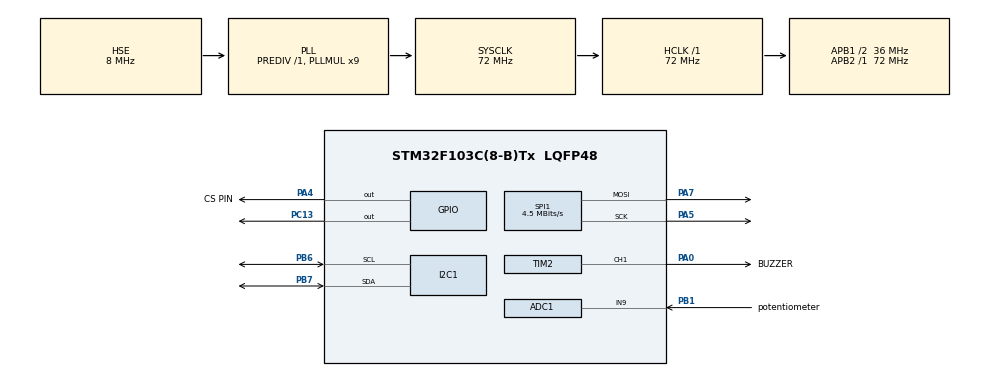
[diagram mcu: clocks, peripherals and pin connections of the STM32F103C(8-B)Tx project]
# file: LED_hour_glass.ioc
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ADC1.Channel-5\#ChannelRegularConversion=ADC_CHANNEL_9
ADC1.NbrOfConversion=1
ADC1.NbrOfConversionFlag=1
ADC1.Rank-5\#ChannelRegularConversion=1
ADC1.SamplingTime-5\#ChannelRegularConversion=ADC_SAMPLETIME_71CYCLES_5
ADC1.master=1
I2C1.DualAddressMode=I2C_DUALADDRESS_ENABLE
I2C1.GeneralCallMode=I2C_GENERALCALL_ENABLE
I2C1.OwnAddress=0x19
I2C1.OwnAddress2=0
Mcu.Family=STM32F1
Mcu.Name=STM32F103C(8-B)Tx
Mcu.Package=LQFP48
NVIC.I2C1_EV_IRQn=true\:0\:0\:false\:false\:true\:true\:true\:true
NVIC.PriorityGroup=NVIC_PRIORITYGROUP_4
PA0-WKUP.GPIO_Label=BUZZER
PA0-WKUP.Signal=S_TIM2_CH1_ETR
PA4.GPIO_Label=CS PIN
PA4.PinState=GPIO_PIN_SET
PA4.Signal=GPIO_Output
PA5.Mode=TX_Only_Simplex_Unidirect_Master
PA5.Signal=SPI1_SCK
PA7.Mode=TX_Only_Simplex_Unidirect_Master
PA7.Signal=SPI1_MOSI
PB1.GPIO_Label=potentiometer
PB1.Signal=ADCx_IN9
PB6.Mode=I2C
PB6.Signal=I2C1_SCL
PB7.Mode=I2C
PB7.Signal=I2C1_SDA
PC13-TAMPER-RTC.Signal=GPIO_Output
PD0-OSC_IN.Mode=HSE-External-Oscillator
PD0-OSC_IN.Signal=RCC_OSC_IN
PD1-OSC_OUT.Mode=HSE-External-Oscillator
PD1-OSC_OUT.Signal=RCC_OSC_OUT
ProjectManager.HeapSize=0x200
ProjectManager.StackSize=0x400
ProjectManager.TargetToolchain=STM32CubeIDE
RCC.ADCPresc=RCC_ADCPCLK2_DIV6
RCC.AHBFreq_Value=72000000
RCC.APB1CLKDivider=RCC_HCLK_DIV2
RCC.APB1Freq_Value=36000000
RCC.APB1TimFreq_Value=72000000
RCC.APB2Freq_Value=72000000
RCC.APB2TimFreq_Value=72000000
RCC.HCLKFreq_Value=72000000
RCC.PLLMUL=RCC_PLL_MUL9
RCC.PLLSourceVirtual=RCC_PLLSOURCE_HSE
RCC.SYSCLKFreq_VALUE=72000000
RCC.SYSCLKSource=RCC_SYSCLKSOURCE_PLLCLK
RCC.USBFreq_Value=72000000
SH.ADCx_IN9.0=ADC1_IN9,IN9
SH.S_TIM2_CH1_ETR.0=TIM2_CH1,PWM Generation1 CH1
SPI1.BaudRatePrescaler=SPI_BAUDRATEPRESCALER_16
SPI1.CalculateBaudRate=4.5 MBits/s
SPI1.Direction=SPI_DIRECTION_2LINES
SPI1.Mode=SPI_MODE_MASTER
SPI1.VirtualNSS=VM_NSSHARD
SPI1.VirtualType=VM_MASTER
TIM2.AutoReloadPreload=TIM_AUTORELOAD_PRELOAD_ENABLE
TIM2.Channel-PWM\ Generation1\ CH1=TIM_CHANNEL_1
TIM2.Prescaler=71
VP_SYS_VS_ND.Mode=No_Debug
VP_TIM2_VS_ClockSourceINT.Mode=Internal
board=custom

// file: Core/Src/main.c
/* USER CODE BEGIN Header */
/**
  ******************************************************************************
  * @file           : main.c
  * @brief          : LED Diamond Hourglass — STM32F103C8 Blue Pill
  *
  * Buzzer: TIM3 CH1 PWM on PA6. No interrupt needed — hardware PWM generates
  * the tone. Call buzzer_on(freq_hz) / buzzer_off() from anywhere.
  *
  * Setting display: both matrices show LED count.
  * Bottom matrix (0..63 pixels available, we use 0..59 for 60 steps).
  * Each minute = 1 LED. Pot maps 0..4095 → 1..60 min.
  *
  * Tick display: one LED extinguishes every 30 sec during normal run,
  * giving a live "time remaining" indicator across both matrices.
  ******************************************************************************
  */
/* USER CODE END Header */
#include "main.h"

ADC_HandleTypeDef hadc1;

I2C_HandleTypeDef hi2c1;

SPI_HandleTypeDef hspi1;

TIM_HandleTypeDef htim2;

/* USER CODE BEGIN PV */
Max7219_HandleTypeDef lc;
LIS3DH_HandleTypeDef  accel;
/* USER CODE END PV */

void SystemClock_Config(void);
static void MX_GPIO_Init(void);
static void MX_I2C1_Init(void);
static void MX_SPI1_Init(void);
static void MX_ADC1_Init(void);
static void MX_TIM2_Init(void);

/* USER CODE BEGIN 0 */

/* ── Buzzer (TIM3 CH1 PWM, PA6) ─────────────────────────────────── */
/*
 * Blue Pill: TIM3 CH1 is on PA6 (no remap needed).
 * Wire buzzer between PA6 and GND (passive buzzer or transistor).
 * Active buzzer: just toggle PA6 as GPIO instead — but PWM gives
 * proper frequency control for passive buzzers.
 */
static void buzzer_on(uint32_t freq_hz)
{
    if (freq_hz == 0) return;
    /* TIM3 clock = PCLK1 * 2 = 72 MHz (with APB1 /2 prescaler) */
    uint32_t timer_clk = 72000000UL;
    uint32_t arr = (timer_clk / (htim2.Init.Prescaler + 1)) / freq_hz - 1;
    __HAL_TIM_SET_AUTORELOAD(&htim2, arr);
    __HAL_TIM_SET_COMPARE(&htim2, TIM_CHANNEL_1, arr / 2); /* 50% duty */
    HAL_TIM_PWM_Start(&htim2, TIM_CHANNEL_1);
}

static void buzzer_off(void)
{
    HAL_TIM_PWM_Stop(&htim2, TIM_CHANNEL_1);
}

static void beep(uint32_t freq_hz, uint32_t ms)
{
    buzzer_on(freq_hz);
    HAL_Delay(ms);
    buzzer_off();
}

static void beep_confirm(void)
{
    beep(1000, 80); HAL_Delay(60);
    beep(1200, 80);
}

static void beep_alarm(void)  /* timer done */
{
    for (int i = 0; i < 5; i++) {
        beep(1500, 150); HAL_Delay(100);
        beep(900,  150); HAL_Delay(100);
    }
}

/* ── LED indicator helpers ───────────────────────────────────────── */
static void led_blink(uint32_t ms)
{
    HAL_GPIO_WritePin(LED_PORT, LED_PIN, GPIO_PIN_RESET);
    HAL_Delay(ms);
    HAL_GPIO_WritePin(LED_PORT, LED_PIN, GPIO_PIN_SET);
    HAL_Delay(ms);
}

/* ── ADC / pot ───────────────────────────────────────────────────── */
static uint8_t read_pot_minutes(void)
{
    static uint32_t filtered = 0;
    static uint8_t  inited   = 0;

    HAL_ADC_Start(&hadc1);
    HAL_ADC_PollForConversion(&hadc1, 10);
    uint32_t raw = HAL_ADC_GetValue(&hadc1);
    HAL_ADC_Stop(&hadc1);

    if (!inited) { filtered = raw; inited = 1; }
    else         { filtered = (filtered * 3 + raw) / 4; }

    return (uint8_t)((filtered * 59) / 4095) + 1;  /* 1..60 */
}

/* display_led_count defined in functions.c */

/* ── Pot setting mode ────────────────────────────────────────────── */
#define POT_SETTLE_MS  2000   /* ms stable before confirming */
#define POT_DEADBAND   1

static void pot_setting_mode(void)
{
    /* Only clear top matrix — bottom is untouched.
     * hourglass_reset() called after this will clear everything cleanly. */
    uint8_t top = hourglass_top_matrix();
    MAX7219_ClearDisplay(&lc, top);

    uint8_t  last     = read_pot_minutes();
    uint32_t stable_t = HAL_GetTick();

    display_led_count(last * 2);

    while (1) {
        HAL_Delay(30);
        uint8_t cur = read_pot_minutes();
        uint8_t diff = (cur > last) ? (cur - last) : (last - cur);

        if (diff > POT_DEADBAND) {
            MAX7219_ClearDisplay(&lc, top);
            last     = cur;
            stable_t = HAL_GetTick();
            display_led_count(cur * 2);
        } else if (HAL_GetTick() - stable_t >= POT_SETTLE_MS) {
            /* Stable for POT_SETTLE_MS — confirm */
            delayMinutes = last;
            delayHours   = 0;
            beep_confirm();
            return;
        }
    }
}

/* ── Tick display ────────────────────────────────────────────────── */
/*
 * Synced to grain drain:
 *   total_ms  = delayMinutes * 60000
 *   tick_leds = delayMinutes * 2  (2 LEDs per minute)
 *   tick_interval = total_ms / tick_leds = 30000ms  (always 30s per LED)
 *
 * BUT: drop_interval = total_ms / SAND_GRAINS
 *   SAND_GRAINS=60, tick_leds=delayMinutes*2
 *   For them to finish together: both use cumulative += timing, no drift.
 *
 * Both tick and drop now use start += interval so they stay locked.
 */
static uint8_t  tick_total      = 0;
static uint32_t tick_total_ms   = 0;
static uint32_t tick_start_ms   = 0;
static uint8_t  tick_active     = 0;

static void tick_display_start(void)
{
    tick_total_ms   = (uint32_t)delayMinutes * 60000UL;
    tick_total      = (uint8_t)(delayMinutes * 2);
    if (tick_total > 120) tick_total = 120;
    tick_start_ms   = HAL_GetTick();
    tick_active     = 1;
    /* Do NOT call display_led_count — matrices show sand */
}

static void tick_display_stop(void)
{
    tick_active = 0;
}

/* Purely a time tracker — no display writes.
 * Sand physics is the visual. Returns 1 at expiry. */
static uint8_t tick_display_update(void)
{
    if (!tick_active) return 0;
    if (HAL_GetTick() - tick_start_ms >= tick_total_ms) {
        tick_active = 0;
        return 1;
    }
    return 0;
}

/*
/* USER CODE END 0 */

int main(void)
{

  /* MCU Configuration--------------------------------------------------------*/

  /* Reset of all peripherals, Initializes the Flash interface and the Systick. */
  HAL_Init();

  /* Configure the system clock */
  SystemClock_Config();

  /* Initialize all configured peripherals */
  MX_GPIO_Init();
  MX_I2C1_Init();
  MX_SPI1_Init();
  MX_ADC1_Init();
  MX_TIM2_Init();
  /* USER CODE BEGIN 2 */

    MAX7219_Init(&lc, &hspi1, CS_PORT, CS_PIN, 2);
    MAX7219_SetRotation(&lc, MATRIX_A, MATRIX_A_ROTATION);
    MAX7219_SetRotation(&lc, MATRIX_B, MATRIX_B_ROTATION);
    lc.inverted_matrix = MATRIX_A;

    MAX7219_SetIntensity(&lc, MATRIX_A, 1);
    MAX7219_SetIntensity(&lc, MATRIX_B, 1);

    srand(HAL_GetTick());

    while (LIS3DH_Init(&accel, &hi2c1) == 0)
        led_blink(200);

    /* Sample accelerometer several times over 300ms to let it stabilize.
     * On power-up the sensor may read flat/zero before settling.
     * LIS3DH_GetGravityDirection returns dev->gravity (=0) when flat,
     * so repeated reads ensure we get the real orientation. */
    for (int i = 0; i < 8; i++) {
        gravity = LIS3DH_GetGravityDirection(&accel);
        HAL_Delay(40);
    }

    MAX7219_Test_BlinkAll(&lc);
    delayMinutes = read_pot_minutes();
    delayHours   = 0;
    hourglass_reset();
    tick_display_start();

//    uint8_t pot_last = read_pot_minutes();
    uint8_t pot_last = delayMinutes;
  /* USER CODE END 2 */

  /* Infinite loop */
  /* USER CODE BEGIN WHILE */
  while (1)
  {
	led_blink(80);
        HAL_Delay(DELAY_FRAME_MS);

        /* --- Pot movement detection → enter setting mode --- */
        uint8_t pot_now = read_pot_minutes();
        if ((pot_now > pot_last ? pot_now - pot_last
                                : pot_last - pot_now) > POT_DEADBAND) {
            tick_display_stop();
            /* pot_setting_mode clears both matrices on entry and on each move */
            pot_setting_mode();
            /* After confirm: reset hourglass with new time, restart tick */
            hourglass_reset();
            tick_display_start();
            pot_last = delayMinutes;
            continue;
        }
        pot_last = pot_now;

        /* --- Tick countdown display --- */
        tick_display_update();

        /* --- Gravity / flip --- */
        int new_grav = LIS3DH_GetGravityDirection(&accel);
        if (new_grav != gravity) {
            int delta = new_grav - gravity;
            if (delta < 0) delta = -delta;
            gravity = new_grav;
            if (delta == 180) {
                hourglass_flip();
                tick_display_start();
                continue;
            }
        }

        /* --- Sand physics --- */
        uint8_t moved   = hourglass_update();
        uint8_t dropped = hourglass_drop();

        /* --- Alarm: fire only when all grains drained AND past grace period --- */
        if (!alarmWentOff && hourglass_settled()) {
            if (hourglass_count(hourglass_top_matrix()) == 0) {
                alarmWentOff = true;
                beep_alarm();
            }
        }
    /* USER CODE END WHILE */

  }
}

void SystemClock_Config(void)
{
  RCC_OscInitTypeDef RCC_OscInitStruct = {0};
  RCC_ClkInitTypeDef RCC_ClkInitStruct = {0};
  RCC_PeriphCLKInitTypeDef PeriphClkInit = {0};

  /** Initializes the RCC Oscillators according to the specified parameters
  * in the RCC_OscInitTypeDef structure.
  */
  RCC_OscInitStruct.OscillatorType = RCC_OSCILLATORTYPE_HSE;
  RCC_OscInitStruct.HSEState = RCC_HSE_ON;
  RCC_OscInitStruct.HSEPredivValue = RCC_HSE_PREDIV_DIV1;
  RCC_OscInitStruct.HSIState = RCC_HSI_ON;
  RCC_OscInitStruct.PLL.PLLState = RCC_PLL_ON;
  RCC_OscInitStruct.PLL.PLLSource = RCC_PLLSOURCE_HSE;
  RCC_OscInitStruct.PLL.PLLMUL = RCC_PLL_MUL9;
  if (HAL_RCC_OscConfig(&RCC_OscInitStruct) != HAL_OK)
  {
    Error_Handler();
  }

  /** Initializes the CPU, AHB and APB buses clocks
  */
  RCC_ClkInitStruct.ClockType = RCC_CLOCKTYPE_HCLK|RCC_CLOCKTYPE_SYSCLK
                              |RCC_CLOCKTYPE_PCLK1|RCC_CLOCKTYPE_PCLK2;
  RCC_ClkInitStruct.SYSCLKSource = RCC_SYSCLKSOURCE_PLLCLK;
  RCC_ClkInitStruct.AHBCLKDivider = RCC_SYSCLK_DIV1;
  RCC_ClkInitStruct.APB1CLKDivider = RCC_HCLK_DIV2;
  RCC_ClkInitStruct.APB2CLKDivider = RCC_HCLK_DIV1;

  if (HAL_RCC_ClockConfig(&RCC_ClkInitStruct, FLASH_LATENCY_2) != HAL_OK)
  {
    Error_Handler();
  }
  PeriphClkInit.PeriphClockSelection = RCC_PERIPHCLK_ADC;
  PeriphClkInit.AdcClockSelection = RCC_ADCPCLK2_DIV6;
  if (HAL_RCCEx_PeriphCLKConfig(&PeriphClkInit) != HAL_OK)
  {
    Error_Handler();
  }
}

static void MX_ADC1_Init(void)
{

  ADC_ChannelConfTypeDef sConfig = {0};

  /** Common config
  */
  hadc1.Instance = ADC1;
  hadc1.Init.ScanConvMode = ADC_SCAN_DISABLE;
  hadc1.Init.ContinuousConvMode = DISABLE;
  hadc1.Init.DiscontinuousConvMode = DISABLE;
  hadc1.Init.ExternalTrigConv = ADC_SOFTWARE_START;
  hadc1.Init.DataAlign = ADC_DATAALIGN_RIGHT;
  hadc1.Init.NbrOfConversion = 1;
  if (HAL_ADC_Init(&hadc1) != HAL_OK)
  {
    Error_Handler();
  }

  /** Configure Regular Channel
  */
  sConfig.Channel = ADC_CHANNEL_9;
  sConfig.Rank = ADC_REGULAR_RANK_1;
  sConfig.SamplingTime = ADC_SAMPLETIME_71CYCLES_5;
  if (HAL_ADC_ConfigChannel(&hadc1, &sConfig) != HAL_OK)
  {
    Error_Handler();
  }

}

static void MX_I2C1_Init(void)
{

  hi2c1.Instance = I2C1;
  hi2c1.Init.ClockSpeed = 100000;
  hi2c1.Init.DutyCycle = I2C_DUTYCYCLE_2;
  hi2c1.Init.OwnAddress1 = 50;
  hi2c1.Init.AddressingMode = I2C_ADDRESSINGMODE_7BIT;
  hi2c1.Init.DualAddressMode = I2C_DUALADDRESS_ENABLE;
  hi2c1.Init.OwnAddress2 = 0;
  hi2c1.Init.GeneralCallMode = I2C_GENERALCALL_ENABLE;
  hi2c1.Init.NoStretchMode = I2C_NOSTRETCH_DISABLE;
  if (HAL_I2C_Init(&hi2c1) != HAL_OK)
  {
    Error_Handler();
  }

}

static void MX_SPI1_Init(void)
{

  /* SPI1 parameter configuration*/
  hspi1.Instance = SPI1;
  hspi1.Init.Mode = SPI_MODE_MASTER;
  hspi1.Init.Direction = SPI_DIRECTION_2LINES;
  hspi1.Init.DataSize = SPI_DATASIZE_8BIT;
  hspi1.Init.CLKPolarity = SPI_POLARITY_LOW;
  hspi1.Init.CLKPhase = SPI_PHASE_1EDGE;
  hspi1.Init.NSS = SPI_NSS_SOFT;
  hspi1.Init.BaudRatePrescaler = SPI_BAUDRATEPRESCALER_16;
  hspi1.Init.FirstBit = SPI_FIRSTBIT_MSB;
  hspi1.Init.TIMode = SPI_TIMODE_DISABLE;
  hspi1.Init.CRCCalculation = SPI_CRCCALCULATION_DISABLE;
  hspi1.Init.CRCPolynomial = 10;
  if (HAL_SPI_Init(&hspi1) != HAL_OK)
  {
    Error_Handler();
  }

}

static void MX_TIM2_Init(void)
{

  TIM_ClockConfigTypeDef sClockSourceConfig = {0};
  TIM_MasterConfigTypeDef sMasterConfig = {0};
  TIM_OC_InitTypeDef sConfigOC = {0};

  htim2.Instance = TIM2;
  htim2.Init.Prescaler = 71;
  htim2.Init.CounterMode = TIM_COUNTERMODE_UP;
  htim2.Init.Period = 65535;
  htim2.Init.ClockDivision = TIM_CLOCKDIVISION_DIV1;
  htim2.Init.AutoReloadPreload = TIM_AUTORELOAD_PRELOAD_ENABLE;
  if (HAL_TIM_Base_Init(&htim2) != HAL_OK)
  {
    Error_Handler();
  }
  sClockSourceConfig.ClockSource = TIM_CLOCKSOURCE_INTERNAL;
  if (HAL_TIM_ConfigClockSource(&htim2, &sClockSourceConfig) != HAL_OK)
  {
    Error_Handler();
  }
  if (HAL_TIM_PWM_Init(&htim2) != HAL_OK)
  {
    Error_Handler();
  }
  sMasterConfig.MasterOutputTrigger = TIM_TRGO_RESET;
  sMasterConfig.MasterSlaveMode = TIM_MASTERSLAVEMODE_DISABLE;
  if (HAL_TIMEx_MasterConfigSynchronization(&htim2, &sMasterConfig) != HAL_OK)
  {
    Error_Handler();
  }
  sConfigOC.OCMode = TIM_OCMODE_PWM1;
  sConfigOC.Pulse = 0;
  sConfigOC.OCPolarity = TIM_OCPOLARITY_HIGH;
  sConfigOC.OCFastMode = TIM_OCFAST_DISABLE;
  if (HAL_TIM_PWM_ConfigChannel(&htim2, &sConfigOC, TIM_CHANNEL_1) != HAL_OK)
  {
    Error_Handler();
  }
  HAL_TIM_MspPostInit(&htim2);

}

static void MX_GPIO_Init(void)
{
  GPIO_InitTypeDef GPIO_InitStruct = {0};

  /* GPIO Ports Clock Enable */
  __HAL_RCC_GPIOC_CLK_ENABLE();
  __HAL_RCC_GPIOD_CLK_ENABLE();
  __HAL_RCC_GPIOA_CLK_ENABLE();
  __HAL_RCC_GPIOB_CLK_ENABLE();

  /*Configure GPIO pin Output Level */
  HAL_GPIO_WritePin(GPIOC, GPIO_PIN_13, GPIO_PIN_RESET);

  /*Configure GPIO pin Output Level */
  HAL_GPIO_WritePin(CS_PIN_GPIO_Port, CS_PIN_Pin, GPIO_PIN_SET);

  /*Configure GPIO pin : PC13 */
  GPIO_InitStruct.Pin = GPIO_PIN_13;
  GPIO_InitStruct.Mode = GPIO_MODE_OUTPUT_PP;
  GPIO_InitStruct.Pull = GPIO_NOPULL;
  GPIO_InitStruct.Speed = GPIO_SPEED_FREQ_LOW;
  HAL_GPIO_Init(GPIOC, &GPIO_InitStruct);

  /*Configure GPIO pin : CS_PIN_Pin */
  GPIO_InitStruct.Pin = CS_PIN_Pin;
  GPIO_InitStruct.Mode = GPIO_MODE_OUTPUT_PP;
  GPIO_InitStruct.Pull = GPIO_NOPULL;
  GPIO_InitStruct.Speed = GPIO_SPEED_FREQ_LOW;
  HAL_GPIO_Init(CS_PIN_GPIO_Port, &GPIO_InitStruct);

}

void Error_Handler(void)
{
  __disable_irq();
  while (1)
  {
  }
}
